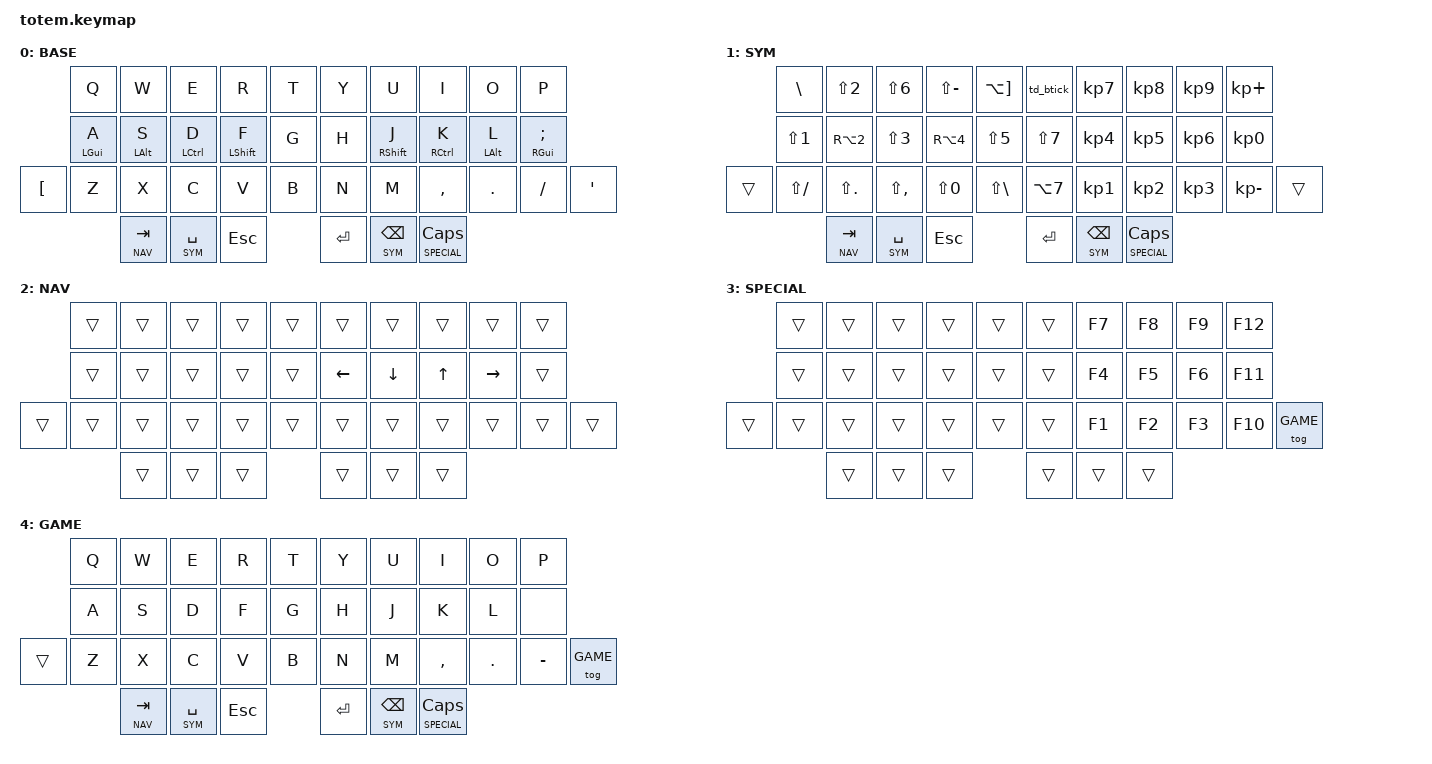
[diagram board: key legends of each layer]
//
//                                                        ▀▀▀▀▀     ▀▀▀▀▀          ▀▀█▀▀
//                                                        ▄▀▀▀▄  ▄  ▄▀▀▀▄  ▄  ▄▀▀▀▄  █  ▄▀▀▀▄
//                                                        █   █  █  █   █  █  █   █  █  █   █
//                                                         ▀▀▀   █   ▀▀▀   █   ▀▀▀   ▀   ▀▀▀
//                                                               █      ▄▄▄█▄▄▄    █   █
//                                                               ▀      █  █  █     █▄█
//                                                             ▀▀▀▀▀    █  █  █      ▀
//                                                                      ▀  ▀  ▀
//
// ▄▄▄▄▄▄▄▄▄▄▄▄▄▄▄▄▄▄▄▄▄▄▄▄▄▄▄▄▄▄▄▄▄▄▄▄▄▄▄▄▄▄▄▄▄▄▄▄▄▄▄▄▄▄▄▄▄▄▄▄▄▄▄▄▄▄▄▄▄▄▄▄▄▄▄▄▄▄▄▄▄▄▄▄▄▄▄▄▄▄▄▄▄▄▄▄▄▄▄▄▄▄▄▄▄▄▄▄▄▄▄▄▄▄▄▄▄▄▄▄▄▄▄▄▄▄▄▄▄▄▄▄▄▄▄▄▄▄▄▄▄▄▄▄▄▄▄▄▄

#include <behaviors.dtsi>
#include <dt-bindings/zmk/keys.h>
#include <dt-bindings/zmk/bt.h>
#include <dt-bindings/zmk/outputs.h>

#define BASE    0
#define SYM     1
#define NAV     2
#define SPECIAL 3
#define GAME    4

/ {
    behaviors {
        // Home row mods, uppdelade vänster/höger hand. hold-trigger-key-positions
        // listar MOTSATT hands positioner -> ett hold "räknas" bara om en tangent
        // på andra handen trycks samtidigt, vilket efterliknar CHORDAL_HOLD.
        hml: home_row_mod_left {
            compatible = "zmk,behavior-hold-tap";
            #binding-cells = <2>;
            flavor = "tap-preferred";
            tapping-term-ms = <200>;                 // TAPPING_TERM från din config.h
            quick-tap-ms = <200>;
            bindings = <&kp>, <&kp>;
            hold-trigger-key-positions = <5 6 7 8 9 15 16 17 18 19 26 27 28 29 30 31 35 36 37>; // höger hand + höger tumme
            hold-trigger-on-release;
        };
        hmr: home_row_mod_right {
            compatible = "zmk,behavior-hold-tap";
            #binding-cells = <2>;
            flavor = "tap-preferred";
            tapping-term-ms = <200>;
            quick-tap-ms = <200>;
            bindings = <&kp>, <&kp>;
            hold-trigger-key-positions = <0 1 2 3 4 10 11 12 13 14 20 21 22 23 24 25 32 33 34>; // vänster hand + vänster tumme
            hold-trigger-on-release;
        };

        // Enkeltryck = bare_grave (` utan att vänta på nästa tecken).
        // Dubbeltryck = \ (Shift+Option+7 på svensk Mac-layout).
        td_btick: tap_dance_backtick {
            compatible = "zmk,behavior-tap-dance";
            #binding-cells = <0>;
            tapping-term-ms = <200>;
            bindings = <&bare_grave>, <&kp LS(LA(N7))>;
        };

        // Layer-tap med quick-tap-ms -> dubbeltryck+håll ger repeat (t.ex.
        // space/backspace) istället för att aktivera lagret, likt QMK:s beteende.
        lt_qt: layer_tap_quick {
            compatible = "zmk,behavior-hold-tap";
            #binding-cells = <2>;
            flavor = "tap-preferred";
            tapping-term-ms = <200>;
            quick-tap-ms = <200>;
            bindings = <&mo>, <&kp>;
        };
    };

    macros {
        // ` är en dead key på svensk Mac. GRAVE följt av SPACE tvingar fram
        // ett fristående backtick-tecken istället för att vänta på en bokstav
        // att kombinera accenten med (samma trick som din SEND_STRING gjorde).
        bare_grave: bare_grave {
            compatible = "zmk,behavior-macro";
            #binding-cells = <0>;
            bindings = <&kp LS(EQUAL)>, <&kp SPACE>;
        };
    };

    combos {
        compatible = "zmk,combos";
        // key-positions syftar på indexen i bindings-arrayen nedan (rad0=0-9,
        // rad1=10-19, rad2=20-31 inkl. ytterkolumner, tummar=32-37).
        // combo_reset  { timeout-ms = <50>; key-positions = <1 2 3 6 7 8>;   bindings = <&bootloader>; };      // w e r u i o -> boot
        combo_er     { timeout-ms = <40>; key-positions = <2 3>;   bindings = <&kp LA(N8)>; };               // e+r -> [
        combo_df     { timeout-ms = <40>; key-positions = <12 13>; bindings = <&kp LS(N8)>; };               // d+f -> (
        combo_cv     { timeout-ms = <40>; key-positions = <23 24>; bindings = <&kp RS(RA(N8))>; };           // c+v -> {
        combo_we     { timeout-ms = <40>; key-positions = <1 2>;   bindings = <&kp GRAVE>; };                // w+e -> <
        combo_ui     { timeout-ms = <40>; key-positions = <6 7>;   bindings = <&kp LA(N9)>; };               // u+i -> ]
        combo_jk     { timeout-ms = <40>; key-positions = <16 17>; bindings = <&kp LS(N9)>; };               // j+k -> )
        combo_mcomma { timeout-ms = <40>; key-positions = <27 28>; bindings = <&kp RS(RA(N9))>; };           // m+, -> }
        combo_io     { timeout-ms = <40>; key-positions = <7 8>;   bindings = <&kp LS(GRAVE)>; };            // i+o -> >
    };

    keymap {
        compatible = "zmk,keymap";
// ▄▄▄▄▄▄▄▄▄▄▄▄▄▄▄▄▄▄▄▄▄▄▄▄▄▄▄▄▄▄▄▄▄▄▄▄▄▄▄▄▄▄▄▄▄▄▄▄▄▄▄▄▄▄▄▄▄▄▄▄▄▄▄▄▄▄▄▄▄▄▄▄▄▄▄▄▄▄▄▄▄▄▄▄▄▄▄▄▄▄▄▄▄▄▄▄▄▄▄▄▄▄▄▄▄▄▄▄▄▄▄▄▄▄▄▄▄▄▄▄▄▄▄▄▄▄▄▄▄▄▄▄▄▄▄▄▄▄▄▄▄▄▄▄▄▄▄▄▄

        base_layer {
// ┏━━━━━━━━━━━━━━━━━━━━━━━━━━━━━━━━━━━━━━━┓
    label= "BASE"                          ;
// ┗━━━━━━━━━━━━━━━━━━━━━━━━━━━━━━━━━━━━━━━┛
//             ┏━━━━━━━━━━━┳━━━━━━━━━━━┳━━━━━━━━━━━┳━━━━━━━━━━━┳━━━━━━━━━━━┓   ┏━━━━━━━━━━━┳━━━━━━━━━━━┳━━━━━━━━━━━┳━━━━━━━━━━━┳━━━━━━━━━━━┓
//             ┃     Q     ┃     W     ┃     E     ┃     R     ┃     T     ┃   ┃     Y     ┃     U     ┃     I     ┃     O     ┃     P     ┃
//             ┣━━━━━━━━━━━╋━━━━━━━━━━━╋━━━━━━━━━━━╋━━━━━━━━━━━╋━━━━━━━━━━━┫   ┣━━━━━━━━━━━╋━━━━━━━━━━━╋━━━━━━━━━━━╋━━━━━━━━━━━╋━━━━━━━━━━━┫
//             ┃   GUI/A   ┃   ALT/S   ┃  CTRL/D   ┃  SHFT/F   ┃     G     ┃   ┃     H     ┃  SHFT/J   ┃  CTRL/K   ┃   ALT/L   ┃   GUI/Ö   ┃
// ┏━━━━━━━━━━━╋━━━━━━━━━━━╋━━━━━━━━━━━╋━━━━━━━━━━━╋━━━━━━━━━━━╋━━━━━━━━━━━┫   ┣━━━━━━━━━━━╋━━━━━━━━━━━╋━━━━━━━━━━━╋━━━━━━━━━━━╋━━━━━━━━━━━╋━━━━━━━━━━━┓
// ┃     Å     ┃     Z     ┃     X     ┃     C     ┃     V     ┃     B     ┃   ┃     N     ┃     M     ┃     ,     ┃     .     ┃     -     ┃     Ä     ┃
// ┗━━━━━━━━━━━┻━━━━━━━━━━━┻━━━━━━━━━━━╋━━━━━━━━━━━╋━━━━━━━━━━━╋━━━━━━━━━━━┫   ┣━━━━━━━━━━━╋━━━━━━━━━━━╋━━━━━━━━━━━╋━━━━━━━━━━━┻━━━━━━━━━━━┻━━━━━━━━━━━┛
//                                     ┃  Tab/NAV  ┃  Spc/SYM  ┃    ESC    ┃   ┃    ENT    ┃ Bspc/SYM  ┃CAPS/SPCIAL┃
//                                     ┗━━━━━━━━━━━┻━━━━━━━━━━━┻━━━━━━━━━━━┛   ┗━━━━━━━━━━━┻━━━━━━━━━━━┻━━━━━━━━━━━┛
            bindings = <
// ╷           ╷           ╷           ╷           ╷           ╷           ╷   ╷           ╷           ╷           ╷           ╷           ╷           ╷
               &kp Q       &kp W       &kp E       &kp R       &kp T           &kp Y       &kp U       &kp I       &kp O       &kp P
               &hml LGUI A &hml LALT S &hml LCTRL D &hml LSHFT F &kp G         &kp H     &hmr RSHFT J &hmr RCTRL K &hmr LALT L &hmr RGUI SEMI
   &kp LBKT    &kp Z       &kp X       &kp C       &kp V       &kp B           &kp N       &kp M       &kp COMMA   &kp DOT     &kp SLASH   &kp SQT
                               &lt_qt NAV TAB &lt_qt SYM SPACE &kp ESC         &kp RET &lt_qt SYM BSPC &lt SPECIAL CAPS
            >;
        };
// ▄▄▄▄▄▄▄▄▄▄▄▄▄▄▄▄▄▄▄▄▄▄▄▄▄▄▄▄▄▄▄▄▄▄▄▄▄▄▄▄▄▄▄▄▄▄▄▄▄▄▄▄▄▄▄▄▄▄▄▄▄▄▄▄▄▄▄▄▄▄▄▄▄▄▄▄▄▄▄▄▄▄▄▄▄▄▄▄▄▄▄▄▄▄▄▄▄▄▄▄▄▄▄▄▄▄▄▄▄▄▄▄▄▄▄▄▄▄▄▄▄▄▄▄▄▄▄▄▄▄▄▄▄▄▄▄▄▄▄▄▄▄▄▄▄▄▄▄▄

        sym_layer {
// ┏━━━━━━━━━━━━━━━━━━━━━━━━━━━━━━━━━━━━━━━┓
    label= "SYM"                           ;
// ┗━━━━━━━━━━━━━━━━━━━━━━━━━━━━━━━━━━━━━━━┛
//             ┏━━━━━━━━━━━┳━━━━━━━━━━━┳━━━━━━━━━━━┳━━━━━━━━━━━┳━━━━━━━━━━━┓   ┏━━━━━━━━━━━┳━━━━━━━━━━━┳━━━━━━━━━━━┳━━━━━━━━━━━┳━━━━━━━━━━━┓
//             ┃     '     ┃     "     ┃     &     ┃     ?     ┃  ~[dead]  ┃   ┃  `/\ [TD] ┃     7     ┃     8     ┃     9     ┃     +     ┃
//             ┣━━━━━━━━━━━╋━━━━━━━━━━━╋━━━━━━━━━━━╋━━━━━━━━━━━╋━━━━━━━━━━━┫   ┣━━━━━━━━━━━╋━━━━━━━━━━━╋━━━━━━━━━━━╋━━━━━━━━━━━╋━━━━━━━━━━━┫
//             ┃     !     ┃     @     ┃     #     ┃     $     ┃     %     ┃   ┃     /     ┃     4     ┃     5     ┃     6     ┃     0     ┃
// ┏━━━━━━━━━━━╋━━━━━━━━━━━╋━━━━━━━━━━━╋━━━━━━━━━━━╋━━━━━━━━━━━╋━━━━━━━━━━━┫   ┣━━━━━━━━━━━╋━━━━━━━━━━━╋━━━━━━━━━━━╋━━━━━━━━━━━╋━━━━━━━━━━━╋━━━━━━━━━━━┓
// ┃  (trans)  ┃     _     ┃     :     ┃     ;     ┃     =     ┃     *     ┃   ┃     |     ┃     1     ┃     2     ┃     3     ┃     -     ┃  (trans)  ┃
// ┗━━━━━━━━━━━┻━━━━━━━━━━━┻━━━━━━━━━━━╋━━━━━━━━━━━╋━━━━━━━━━━━╋━━━━━━━━━━━┫   ┣━━━━━━━━━━━╋━━━━━━━━━━━╋━━━━━━━━━━━╋━━━━━━━━━━━┻━━━━━━━━━━━┻━━━━━━━━━━━┛
//                                     ┃  Tab/NAV  ┃  Spc/SYM  ┃    ESC    ┃   ┃    ENT    ┃ Bspc/SYM  ┃CAPS/SPCIAL┃
//                                     ┗━━━━━━━━━━━┻━━━━━━━━━━━┻━━━━━━━━━━━┛   ┗━━━━━━━━━━━┻━━━━━━━━━━━┻━━━━━━━━━━━┛
            bindings = <
// ╷           ╷           ╷           ╷           ╷           ╷           ╷   ╷           ╷           ╷           ╷           ╷           ╷           ╷
               &kp BSLH    &kp LS(N2)  &kp LS(N6) &kp LS(MINUS) &kp LA(RBKT)   &td_btick   &kp KP_N7   &kp KP_N8   &kp KP_N9   &kp KP_PLUS
               &kp LS(N1)  &kp RA(N2)  &kp LS(N3)  &kp RA(N4)  &kp LS(N5)      &kp LS(N7)  &kp KP_N4   &kp KP_N5   &kp KP_N6   &kp KP_N0
   &trans  &kp LS(SLASH) &kp LS(DOT) &kp LS(COMMA) &kp LS(N0)  &kp LS(BSLH)    &kp LA(N7)  &kp KP_N1   &kp KP_N2   &kp KP_N3  &kp KP_MINUS &trans
                               &lt_qt NAV TAB &lt_qt SYM SPACE &kp ESC         &kp RET &lt_qt SYM BSPC &lt SPECIAL CAPS
            >;
        };
// ▄▄▄▄▄▄▄▄▄▄▄▄▄▄▄▄▄▄▄▄▄▄▄▄▄▄▄▄▄▄▄▄▄▄▄▄▄▄▄▄▄▄▄▄▄▄▄▄▄▄▄▄▄▄▄▄▄▄▄▄▄▄▄▄▄▄▄▄▄▄▄▄▄▄▄▄▄▄▄▄▄▄▄▄▄▄▄▄▄▄▄▄▄▄▄▄▄▄▄▄▄▄▄▄▄▄▄▄▄▄▄▄▄▄▄▄▄▄▄▄▄▄▄▄▄▄▄▄▄▄▄▄▄▄▄▄▄▄▄▄▄▄▄▄▄▄▄▄▄

        nav_layer {
// ┏━━━━━━━━━━━━━━━━━━━━━━━━━━━━━━━━━━━━━━━┓
    label= "NAV"                           ;
// ┗━━━━━━━━━━━━━━━━━━━━━━━━━━━━━━━━━━━━━━━┛
//             ┏━━━━━━━━━━━┳━━━━━━━━━━━┳━━━━━━━━━━━┳━━━━━━━━━━━┳━━━━━━━━━━━┓   ┏━━━━━━━━━━━┳━━━━━━━━━━━┳━━━━━━━━━━━┳━━━━━━━━━━━┳━━━━━━━━━━━┓
//             ┃  (trans)  ┃  (trans)  ┃  (trans)  ┃  (trans)  ┃  (trans)  ┃   ┃  (trans)  ┃  (trans)  ┃  (trans)  ┃  (trans)  ┃  (trans)  ┃
//             ┣━━━━━━━━━━━╋━━━━━━━━━━━╋━━━━━━━━━━━╋━━━━━━━━━━━╋━━━━━━━━━━━┫   ┣━━━━━━━━━━━╋━━━━━━━━━━━╋━━━━━━━━━━━╋━━━━━━━━━━━╋━━━━━━━━━━━┫
//             ┃  (trans)  ┃  (trans)  ┃  (trans)  ┃  (trans)  ┃  (trans)  ┃   ┃   LEFT    ┃   DOWN    ┃    UP     ┃   RIGHT   ┃  (trans)  ┃
// ┏━━━━━━━━━━━╋━━━━━━━━━━━╋━━━━━━━━━━━╋━━━━━━━━━━━╋━━━━━━━━━━━╋━━━━━━━━━━━┫   ┣━━━━━━━━━━━╋━━━━━━━━━━━╋━━━━━━━━━━━╋━━━━━━━━━━━╋━━━━━━━━━━━╋━━━━━━━━━━━┓
// ┃  (trans)  ┃  (trans)  ┃  (trans)  ┃  (trans)  ┃  (trans)  ┃  (trans)  ┃   ┃  (trans)  ┃  (trans)  ┃  (trans)  ┃  (trans)  ┃  (trans)  ┃  (trans)  ┃
// ┗━━━━━━━━━━━┻━━━━━━━━━━━┻━━━━━━━━━━━╋━━━━━━━━━━━╋━━━━━━━━━━━╋━━━━━━━━━━━┫   ┣━━━━━━━━━━━╋━━━━━━━━━━━╋━━━━━━━━━━━╋━━━━━━━━━━━┻━━━━━━━━━━━┻━━━━━━━━━━━┛
//                                     ┃  (trans)  ┃  (trans)  ┃  (trans)  ┃   ┃  (trans)  ┃  (trans)  ┃  (trans)  ┃
//                                     ┗━━━━━━━━━━━┻━━━━━━━━━━━┻━━━━━━━━━━━┛   ┗━━━━━━━━━━━┻━━━━━━━━━━━┻━━━━━━━━━━━┛
            bindings = <
// ╷           ╷           ╷           ╷           ╷           ╷           ╷   ╷           ╷           ╷           ╷           ╷           ╷           ╷
               &trans      &trans      &trans      &trans      &trans          &trans      &trans      &trans      &trans      &trans
               &trans      &trans      &trans      &trans      &trans          &kp LEFT    &kp DOWN    &kp UP      &kp RIGHT   &trans
   &trans      &trans      &trans      &trans      &trans      &trans          &trans      &trans      &trans      &trans      &trans      &trans
                                       &trans      &trans      &trans          &trans      &trans      &trans
            >;
        };
// ▄▄▄▄▄▄▄▄▄▄▄▄▄▄▄▄▄▄▄▄▄▄▄▄▄▄▄▄▄▄▄▄▄▄▄▄▄▄▄▄▄▄▄▄▄▄▄▄▄▄▄▄▄▄▄▄▄▄▄▄▄▄▄▄▄▄▄▄▄▄▄▄▄▄▄▄▄▄▄▄▄▄▄▄▄▄▄▄▄▄▄▄▄▄▄▄▄▄▄▄▄▄▄▄▄▄▄▄▄▄▄▄▄▄▄▄▄▄▄▄▄▄▄▄▄▄▄▄▄▄▄▄▄▄▄▄▄▄▄▄▄▄▄▄▄▄▄▄▄
//
        special_layer {
// ┏━━━━━━━━━━━━━━━━━━━━━━━━━━━━━━━━━━━━━━━┓
    label= "SPECIAL"                       ;
// ┗━━━━━━━━━━━━━━━━━━━━━━━━━━━━━━━━━━━━━━━┛
//             ┏━━━━━━━━━━━┳━━━━━━━━━━━┳━━━━━━━━━━━┳━━━━━━━━━━━┳━━━━━━━━━━━┓   ┏━━━━━━━━━━━┳━━━━━━━━━━━┳━━━━━━━━━━━┳━━━━━━━━━━━┳━━━━━━━━━━━┓
//             ┃  (trans)  ┃  (trans)  ┃  (trans)  ┃  (trans)  ┃  (trans)  ┃   ┃  (trans)  ┃    F7     ┃    F8     ┃    F9     ┃    F12    ┃
//             ┣━━━━━━━━━━━╋━━━━━━━━━━━╋━━━━━━━━━━━╋━━━━━━━━━━━╋━━━━━━━━━━━┫   ┣━━━━━━━━━━━╋━━━━━━━━━━━╋━━━━━━━━━━━╋━━━━━━━━━━━╋━━━━━━━━━━━┫
//             ┃  (trans)  ┃  (trans)  ┃  (trans)  ┃  (trans)  ┃  (trans)  ┃   ┃  (trans)  ┃    F4     ┃    F5     ┃    F6     ┃    F11    ┃
// ┏━━━━━━━━━━━╋━━━━━━━━━━━╋━━━━━━━━━━━╋━━━━━━━━━━━╋━━━━━━━━━━━╋━━━━━━━━━━━┫   ┣━━━━━━━━━━━╋━━━━━━━━━━━╋━━━━━━━━━━━╋━━━━━━━━━━━╋━━━━━━━━━━━╋━━━━━━━━━━━┓
// ┃  (trans)  ┃  (trans)  ┃  (trans)  ┃  (trans)  ┃  (trans)  ┃  (trans)  ┃   ┃  (trans)  ┃    F1     ┃    F2     ┃    F3     ┃    F10    ┃ TOG(GAME) ┃
// ┗━━━━━━━━━━━┻━━━━━━━━━━━┻━━━━━━━━━━━╋━━━━━━━━━━━╋━━━━━━━━━━━╋━━━━━━━━━━━┫   ┣━━━━━━━━━━━╋━━━━━━━━━━━╋━━━━━━━━━━━╋━━━━━━━━━━━┻━━━━━━━━━━━┻━━━━━━━━━━━┛
//                                     ┃  (trans)  ┃  (trans)  ┃  (trans)  ┃   ┃  (trans)  ┃  (trans)  ┃  (trans)  ┃
//                                     ┗━━━━━━━━━━━┻━━━━━━━━━━━┻━━━━━━━━━━━┛   ┗━━━━━━━━━━━┻━━━━━━━━━━━┻━━━━━━━━━━━┛
            bindings = <
// ╷           ╷           ╷           ╷           ╷           ╷           ╷   ╷           ╷           ╷           ╷           ╷           ╷           ╷
               &trans      &trans      &trans      &trans      &trans          &trans      &kp F7      &kp F8      &kp F9      &kp F12
               &trans      &trans      &trans      &trans      &trans          &trans      &kp F4      &kp F5      &kp F6      &kp F11
   &trans      &trans      &trans      &trans      &trans      &trans          &trans      &kp F1      &kp F2      &kp F3      &kp F10      &tog GAME
                                       &trans      &trans      &trans          &trans      &trans      &trans
            >;
        };
// ▄▄▄▄▄▄▄▄▄▄▄▄▄▄▄▄▄▄▄▄▄▄▄▄▄▄▄▄▄▄▄▄▄▄▄▄▄▄▄▄▄▄▄▄▄▄▄▄▄▄▄▄▄▄▄▄▄▄▄▄▄▄▄▄▄▄▄▄▄▄▄▄▄▄▄▄▄▄▄▄▄▄▄▄▄▄▄▄▄▄▄▄▄▄▄▄▄▄▄▄▄▄▄▄▄▄▄▄▄▄▄▄▄▄▄▄▄▄▄▄▄▄▄▄▄▄▄▄▄▄▄▄▄▄▄▄▄▄▄▄▄▄▄▄▄▄▄▄▄

        game_layer {
// ┏━━━━━━━━━━━━━━━━━━━━━━━━━━━━━━━━━━━━━━━┓
    label= "GAME"                          ;
// ┗━━━━━━━━━━━━━━━━━━━━━━━━━━━━━━━━━━━━━━━┛
//             ┏━━━━━━━━━━━┳━━━━━━━━━━━┳━━━━━━━━━━━┳━━━━━━━━━━━┳━━━━━━━━━━━┓   ┏━━━━━━━━━━━┳━━━━━━━━━━━┳━━━━━━━━━━━┳━━━━━━━━━━━┳━━━━━━━━━━━┓
//             ┃     Q     ┃     W     ┃     E     ┃     R     ┃     T     ┃   ┃     Y     ┃     U     ┃     I     ┃     O     ┃     P     ┃
//             ┣━━━━━━━━━━━╋━━━━━━━━━━━╋━━━━━━━━━━━╋━━━━━━━━━━━╋━━━━━━━━━━━┫   ┣━━━━━━━━━━━╋━━━━━━━━━━━╋━━━━━━━━━━━╋━━━━━━━━━━━╋━━━━━━━━━━━┫
//             ┃     A     ┃     S     ┃     D     ┃     F     ┃     G     ┃   ┃     H     ┃     J     ┃     K     ┃     L     ┃ (none)    ┃
// ┏━━━━━━━━━━━╋━━━━━━━━━━━╋━━━━━━━━━━━╋━━━━━━━━━━━╋━━━━━━━━━━━╋━━━━━━━━━━━┫   ┣━━━━━━━━━━━╋━━━━━━━━━━━╋━━━━━━━━━━━╋━━━━━━━━━━━╋━━━━━━━━━━━╋━━━━━━━━━━━┓
// ┃  (trans)  ┃     Z     ┃     X     ┃     C     ┃     V     ┃     B     ┃   ┃     N     ┃     M     ┃     ,     ┃     .     ┃     -     ┃ TOG(GAME) ┃
// ┗━━━━━━━━━━━┻━━━━━━━━━━━┻━━━━━━━━━━━╋━━━━━━━━━━━╋━━━━━━━━━━━╋━━━━━━━━━━━┫   ┣━━━━━━━━━━━╋━━━━━━━━━━━╋━━━━━━━━━━━╋━━━━━━━━━━━┻━━━━━━━━━━━┻━━━━━━━━━━━┛
//                                     ┃  Tab/NAV  ┃  Spc/SYM  ┃    ESC    ┃   ┃    ENT    ┃ Bspc/SYM  ┃CAPS/SPCIAL┃
//                                     ┗━━━━━━━━━━━┻━━━━━━━━━━━┻━━━━━━━━━━━┛   ┗━━━━━━━━━━━┻━━━━━━━━━━━┻━━━━━━━━━━━┛
            bindings = <
// ╷           ╷           ╷           ╷           ╷           ╷           ╷   ╷           ╷           ╷           ╷           ╷           ╷           ╷
               &kp Q       &kp W       &kp E       &kp R       &kp T           &kp Y       &kp U       &kp I       &kp O       &kp P
               &kp A       &kp S       &kp D       &kp F       &kp G           &kp H       &kp J       &kp K       &kp L       &none
   &trans      &kp Z       &kp X       &kp C       &kp V       &kp B           &kp N       &kp M       &kp COMMA   &kp DOT     &kp MINUS   &tog GAME
                               &lt_qt NAV TAB &lt_qt SYM SPACE &kp ESC         &kp RET &lt_qt SYM BSPC &lt SPECIAL CAPS
            >;
        };
    };
};
